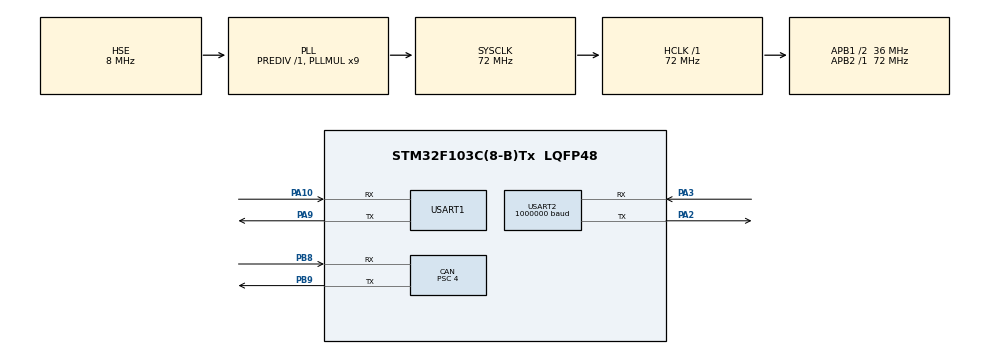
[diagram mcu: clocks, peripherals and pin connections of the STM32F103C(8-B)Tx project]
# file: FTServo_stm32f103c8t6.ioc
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CAN.ABOM=ENABLE
CAN.AWUM=ENABLE
CAN.BS1=CAN_BS1_4TQ
CAN.BS2=CAN_BS2_4TQ
CAN.CalculateBaudRate=1000000
CAN.CalculateTimeBit=1000
CAN.CalculateTimeQuantum=111.11111111111111
CAN.Mode=CAN_MODE_NORMAL
CAN.NART=ENABLE
CAN.Prescaler=4
Dma.Request0=USART2_RX
Dma.Request1=USART2_TX
Dma.USART2_RX.0.Direction=DMA_PERIPH_TO_MEMORY
Dma.USART2_RX.0.Instance=DMA1_Channel6
Dma.USART2_RX.0.MemDataAlignment=DMA_MDATAALIGN_BYTE
Dma.USART2_RX.0.MemInc=DMA_MINC_ENABLE
Dma.USART2_RX.0.Mode=DMA_NORMAL
Dma.USART2_RX.0.PeriphDataAlignment=DMA_PDATAALIGN_BYTE
Dma.USART2_RX.0.PeriphInc=DMA_PINC_DISABLE
Dma.USART2_RX.0.Priority=DMA_PRIORITY_LOW
Dma.USART2_TX.1.Direction=DMA_MEMORY_TO_PERIPH
Dma.USART2_TX.1.Instance=DMA1_Channel7
Dma.USART2_TX.1.MemDataAlignment=DMA_MDATAALIGN_BYTE
Dma.USART2_TX.1.MemInc=DMA_MINC_ENABLE
Dma.USART2_TX.1.Mode=DMA_NORMAL
Dma.USART2_TX.1.PeriphDataAlignment=DMA_PDATAALIGN_BYTE
Dma.USART2_TX.1.PeriphInc=DMA_PINC_DISABLE
Dma.USART2_TX.1.Priority=DMA_PRIORITY_LOW
Mcu.Family=STM32F1
Mcu.Name=STM32F103C(8-B)Tx
Mcu.Package=LQFP48
NVIC.CAN1_RX1_IRQn=true\:0\:0\:false\:false\:true\:true\:true\:true
NVIC.DMA1_Channel6_IRQn=true\:0\:0\:false\:false\:true\:false\:true\:true
NVIC.DMA1_Channel7_IRQn=true\:0\:0\:false\:false\:true\:false\:true\:true
NVIC.PriorityGroup=NVIC_PRIORITYGROUP_4
NVIC.USART2_IRQn=true\:0\:0\:false\:false\:true\:true\:true\:true
NVIC.USB_LP_CAN1_RX0_IRQn=true\:0\:0\:false\:false\:true\:false\:true\:true
PA10.Mode=Asynchronous
PA10.Signal=USART1_RX
PA13.Mode=Serial_Wire
PA13.Signal=SYS_JTMS-SWDIO
PA14.Mode=Serial_Wire
PA14.Signal=SYS_JTCK-SWCLK
PA2.Mode=Asynchronous
PA2.Signal=USART2_TX
PA3.Mode=Asynchronous
PA3.Signal=USART2_RX
PA9.Mode=Asynchronous
PA9.Signal=USART1_TX
PB8.Mode=CAN_Activate
PB8.Signal=CAN_RX
PB9.Mode=CAN_Activate
PB9.Signal=CAN_TX
PD0-OSC_IN.Mode=HSE-External-Oscillator
PD0-OSC_IN.Signal=RCC_OSC_IN
PD1-OSC_OUT.Mode=HSE-External-Oscillator
PD1-OSC_OUT.Signal=RCC_OSC_OUT
ProjectManager.HeapSize=0x200
ProjectManager.StackSize=0x400
ProjectManager.TargetToolchain=Makefile
RCC.AHBFreq_Value=72000000
RCC.APB1CLKDivider=RCC_HCLK_DIV2
RCC.APB1Freq_Value=36000000
RCC.APB1TimFreq_Value=72000000
RCC.APB2Freq_Value=72000000
RCC.APB2TimFreq_Value=72000000
RCC.HCLKFreq_Value=72000000
RCC.PLLMUL=RCC_PLL_MUL9
RCC.PLLSourceVirtual=RCC_PLLSOURCE_HSE
RCC.SYSCLKFreq_VALUE=72000000
RCC.SYSCLKSource=RCC_SYSCLKSOURCE_PLLCLK
RCC.USBFreq_Value=48000000
RCC.USBPrescaler=RCC_USBCLKSOURCE_PLL_DIV1_5
USART1.VirtualMode=VM_ASYNC
USART2.BaudRate=1000000
USART2.VirtualMode=VM_ASYNC
board=custom

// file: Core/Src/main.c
/* USER CODE BEGIN Header */
/**
  ******************************************************************************
  * @file           : main.c
  * @brief          : Main program body
  ******************************************************************************
  * @attention
  *
  * Copyright (c) 2025 STMicroelectronics.
  * All rights reserved.
  *
  * This software is licensed under terms that can be found in the LICENSE file
  * in the root directory of this software component.
  * If no LICENSE file comes with this software, it is provided AS-IS.
  *
  ******************************************************************************
  */
/* USER CODE END Header */
#include "main.h"
#include "can.h"
#include "dma.h"
#include "usart.h"
#include "gpio.h"

/* USER CODE BEGIN Includes */
// #include "sms_c_api.h"
#include "stdio.h"
#include "string.h"
// #include "STS_control.h"
/* USER CODE END Includes */

uint8_t servo_enable=0;
uint8_t servo_id[1] = {1, };
uint16_t servo_position[sizeof(servo_id)];
uint16_t servo_speed[sizeof(servo_id)];
uint8_t servo_rxpacket[4];
uint16_t servo_set_position[sizeof(servo_id)];
uint16_t servo_set_speed[sizeof(servo_id)];
uint16_t servo_set_acc[sizeof(servo_id)];
uint16_t default_speed = 3250;
uint16_t default_acc = 0;
uint8_t servo_can_rx[8] = {0};
uint8_t servo_can_tx[8] = {0};
uint8_t servo_read_flag_12 = 1;
uint8_t servo_read_flag_3 = 0;
uint8_t servo_write_flag = 0;

void SystemClock_Config(void);

int main(void)
{

  /* MCU Configuration--------------------------------------------------------*/

  /* Reset of all peripherals, Initializes the Flash interface and the Systick. */
  HAL_Init();

  /* Configure the system clock */
  SystemClock_Config();

  /* Initialize all configured peripherals */
  MX_GPIO_Init();
  MX_DMA_Init();
  MX_USART2_UART_Init();
  MX_CAN_Init();
  MX_USART1_UART_Init();
  /* USER CODE BEGIN 2 */
  // char *msg = "Hello from STM32F103 via USB CDC\r\n";
  // CDC_Transmit_FS((uint8_t*)msg, strlen(msg));
  // STS_control_init(); // Removed STS dependency
  int cur_i = 0;
  int cur_target = 0;

  // set filter
  CAN_FilterTypeDef filterConfig;
  filterConfig.FilterActivation = ENABLE;
  filterConfig.FilterBank = 0;
  filterConfig.FilterFIFOAssignment = CAN_FILTER_FIFO1;
  filterConfig.FilterIdHigh = 0x0000;
  filterConfig.FilterIdLow = 0x0000;
  filterConfig.FilterMaskIdHigh = 0x0000;
  filterConfig.FilterMaskIdLow = 0x0000;
  filterConfig.FilterMode = CAN_FILTERMODE_IDMASK;
  filterConfig.FilterScale = CAN_FILTERSCALE_32BIT;
  HAL_CAN_ConfigFilter(&hcan, &filterConfig);

  HAL_CAN_Start(&hcan);
  HAL_CAN_ActivateNotification(&hcan, CAN_IT_RX_FIFO1_MSG_PENDING);

  CAN_TxHeaderTypeDef TxHeader;
  uint8_t TxData[8] = {1, 2, 3, 4, 5, 6, 7, 8};
  uint32_t TxMailbox;

  TxHeader.StdId = 0x000;
  TxHeader.RTR = CAN_RTR_DATA;
  TxHeader.IDE = CAN_ID_STD;
  TxHeader.DLC = 8;

  uint8_t uart1_rec_buffer[100] = {0};
  uint8_t uart1_trans_buffer[100] = {0, 0x19};

  // while ((CAN1->TSR & CAN_TSR_TME) == 0) {
  //   int x = 0;
  // }

  /* USER CODE END 2 */

  /* Infinite loop */
  /* USER CODE BEGIN WHILE */

  // Servo control functions for ID=1
  void servo_enable_torque(void) {
    servo_enable=1;
    uint8_t cmd[] = {0xFF, 0xFF, 0x01, 0x04, 0x03, 0x28, 0x01, 0xCE};
    HAL_UART_Transmit(&huart2, cmd, 8, 100);
  }

  void servo_disable_torque(void) {
    servo_enable=0;
    uint8_t cmd[] = {0xFF, 0xFF, 0x01, 0x04, 0x03, 0x28, 0x00, 0xCF};
    HAL_UART_Transmit(&huart2, cmd, 8, 100);
  }
  void servo_set_mid(void) {
    uint8_t cmd[] = {0xFF, 0xFF, 0x01, 0x04, 0x03, 0x28, 0x80, 0x4F};
    HAL_UART_Transmit(&huart2, cmd, 8, 100);
  }

  void servo_read_position(void) {
    uint8_t cmd[] = {0xFF, 0xFF, 0x01, 0x04, 0x02, 0x38, 0x02, 0xBE};
    uint8_t response[8];
    HAL_UART_Transmit(&huart2, cmd, 8, 100);
    if(HAL_UART_Receive(&huart2, response, 8, 100) == HAL_OK) {
      // Validate response header
      if(response[0] == 0xFF && response[1] == 0xFF) {
        // Extract position from bytes 5 and 6 (0-indexed)
        servo_position[0]= response[5] | (response[6] << 8);  // Low byte first, then high byte
        // servo_position[0] = position;  // Store the angle
      }
    }
  }

  void servo_position_control(uint16_t position, uint16_t velocity) {
    // Based on the image: FF FF 01 09 03 2A E8 03 00 E8 03 F2 42
    uint8_t cmd[13] = {0xFF, 0xFF, 0x01, 0x09, 0x03, 0x2A, 0x00, 0x00, 0x00, 0x00, 0x00, 0x00, 0x00};

    // Set position (low byte first, then high byte)
    cmd[6] = (uint8_t)(position & 0xFF);
    cmd[7] = (uint8_t)(position >> 8);

    // Time bytes are reserved (set to 00)
    cmd[8] = 0x00;
    cmd[9] = 0x00;

    // Set velocity (low byte first, then high byte)
    // cmd[10] = (uint8_t)(velocity & 0xFF);
    // cmd[11] = (uint8_t)(velocity >> 8);
    cmd[10] = 0x64;
    cmd[11] = 0x00;

    // Calculate checksum using BITXOR method: XOR(SUM & 0xFF, 0xFF)
    uint8_t sum = 0;
    for(int i = 2; i < 12; i++) {
      sum += cmd[i];
    }
    cmd[12] = (sum & 0xFF) ^ 0xFF;

    uint8_t response[6];
    HAL_UART_Transmit(&huart2, cmd, 13, 100);
    // Expected response: FF FF 01 02 00 FC
    // HAL_UART_Receive(&huart2, response, 6, 100);
  }

  uint8_t test_buffer[10] = {0x00, 0x0a, 0x00, 0x01, 0x00, 0x00, 0x01 ,0x00, 0x00, 0x00};
  uint8_t send_buffer[10] = {0x00, 0x09, 0x00, 0x01, 0x00, 0x00, 0x01 ,0x00, 0x00, 0x00}; // ID 7 means read servo 1 and 2's data
  while (1)
  {
    // HAL_UART_Transmit(&huart1, send_buffer, 10, 100);
    // HAL_Delay(300);  // 0.3s delay

    // if(HAL_OK==HAL_UART_Receive(&huart1, uart1_rec_buffer, 10, 100)){ // len is 10 and timeout is 100

    //   HAL_UART_Transmit(&huart1, uart1_rec_buffer, 10, 100);
    // }
    if(servo_read_flag_12 == 1) {
      servo_read_position();
      // send first two servos' data
      for(uint8_t i = 0; i < 1; i++) {
        servo_can_tx[4 * i] = (uint8_t)(servo_position[i] >> 8);
        servo_can_tx[4 * i + 1] = (uint8_t)(servo_position[i] & 0xFF);
        servo_can_tx[4 * i + 2] = (uint8_t)(servo_speed[i] >> 8);
        servo_can_tx[4 * i + 3] = (uint8_t)(servo_speed[i] & 0xFF);
      }
      // if(HAL_CAN_AddTxMessage(&hcan, &TxHeader, servo_can_tx, &TxMailbox) != HAL_OK) {
      //   int test = 0;
      // }
      memcpy(uart1_trans_buffer + 2, servo_can_tx, 8);
      HAL_UART_Transmit(&huart1, uart1_trans_buffer, 10, 100);
      // servo_read_flag_12 = 0;
      HAL_Delay(5);
    }

    if(HAL_OK!=HAL_UART_Receive(&huart1, uart1_rec_buffer, 10, 100)){ // len is 10 and timeout is 100
    // if(1==1){ // len is 10 and timeout is 100
      continue;
    }else{

      // HAL_UART_Transmit(&huart1, test_buffer, 10, 200);
      uint16_t can_id = (uint16_t)(uart1_rec_buffer[0] << 8) | uart1_rec_buffer[1];
        if(can_id==0x09){
          switch (uart1_rec_buffer[2])
          {
          case 0x00:
            servo_enable = 0;
            servo_disable_torque();
            break;

          case 0x01:
            servo_enable = 1;
            servo_enable_torque();

            break;
          case 0x02:
            servo_write_flag =1 ;
            // servo_position_control();
            break;
          case 0x03:
              servo_read_flag_12 = 1;
              break;
          case 0x04:
              servo_set_mid();
              break;
          }
        }

    if(servo_write_flag == 1) {
      // Check if this is a position control command
      if(uart1_rec_buffer[2] == 0x02) {
        // Extract position from bytes 3-4 and velocity from bytes 5-6
        servo_enable_torque();
        uint16_t position = ((uint16_t)uart1_rec_buffer[3] << 8) | uart1_rec_buffer[4];
        uint16_t velocity = ((uint16_t)uart1_rec_buffer[5] << 8) | uart1_rec_buffer[6];

        // Call servo position control with extracted data
        servo_position_control(position, velocity);
      }

      servo_write_flag = 0;
      // servo_read_flag_12=1;
    }

    if(servo_read_flag_12 == 1) {
      servo_read_position();
      // send first two servos' data
      for(uint8_t i = 0; i < 1; i++) {
        servo_can_tx[4 * i] = (uint8_t)(servo_position[i] >> 8);
        servo_can_tx[4 * i + 1] = (uint8_t)(servo_position[i] & 0xFF);
        servo_can_tx[4 * i + 2] = (uint8_t)(servo_speed[i] >> 8);
        servo_can_tx[4 * i + 3] = (uint8_t)(servo_speed[i] & 0xFF);
      }
      // if(HAL_CAN_AddTxMessage(&hcan, &TxHeader, servo_can_tx, &TxMailbox) != HAL_OK) {
      //   int test = 0;
      // }
      memcpy(uart1_trans_buffer + 2, servo_can_tx, 8);
      HAL_UART_Transmit(&huart1, uart1_trans_buffer, 10, 100);
      servo_read_flag_12 = 0;
      HAL_Delay(10);
    }

      }
    }

    /* USER CODE END WHILE */

  }

void SystemClock_Config(void)
{
  RCC_OscInitTypeDef RCC_OscInitStruct = {0};
  RCC_ClkInitTypeDef RCC_ClkInitStruct = {0};

  /** Initializes the RCC Oscillators according to the specified parameters
  * in the RCC_OscInitTypeDef structure.
  */
  RCC_OscInitStruct.OscillatorType = RCC_OSCILLATORTYPE_HSE;
  RCC_OscInitStruct.HSEState = RCC_HSE_ON;
  RCC_OscInitStruct.HSEPredivValue = RCC_HSE_PREDIV_DIV1;
  RCC_OscInitStruct.HSIState = RCC_HSI_ON;
  RCC_OscInitStruct.PLL.PLLState = RCC_PLL_ON;
  RCC_OscInitStruct.PLL.PLLSource = RCC_PLLSOURCE_HSE;
  RCC_OscInitStruct.PLL.PLLMUL = RCC_PLL_MUL9;
  if (HAL_RCC_OscConfig(&RCC_OscInitStruct) != HAL_OK)
  {
    Error_Handler();
  }

  /** Initializes the CPU, AHB and APB buses clocks
  */
  RCC_ClkInitStruct.ClockType = RCC_CLOCKTYPE_HCLK|RCC_CLOCKTYPE_SYSCLK
                              |RCC_CLOCKTYPE_PCLK1|RCC_CLOCKTYPE_PCLK2;
  RCC_ClkInitStruct.SYSCLKSource = RCC_SYSCLKSOURCE_PLLCLK;
  RCC_ClkInitStruct.AHBCLKDivider = RCC_SYSCLK_DIV1;
  RCC_ClkInitStruct.APB1CLKDivider = RCC_HCLK_DIV2;
  RCC_ClkInitStruct.APB2CLKDivider = RCC_HCLK_DIV1;

  if (HAL_RCC_ClockConfig(&RCC_ClkInitStruct, FLASH_LATENCY_2) != HAL_OK)
  {
    Error_Handler();
  }
}

void Error_Handler(void)
{
  __disable_irq();
  while (1)
  {
  }
}
